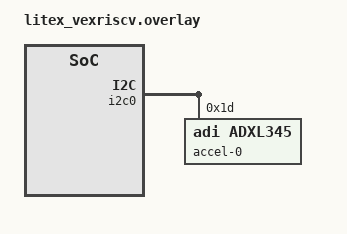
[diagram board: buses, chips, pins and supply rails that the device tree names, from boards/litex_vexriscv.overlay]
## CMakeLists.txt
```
cmake_minimum_required(VERSION 3.13.1)
include($ENV{ZEPHYR_BASE}/cmake/app/boilerplate.cmake NO_POLICY_SCOPE)
project(tf_lite_magic_wand)

set(TF_MICRO_DIR ${PROJECT_SOURCE_DIR}/../../../)
file(GLOB MICRO_SOURCES ${TF_MICRO_DIR}/*cc)
file(GLOB MICRO_HEADERS ${TF_MICRO_DIR}/*.h)
file(GLOB MICRO_TESTS_SOURCES ${TF_MICRO_DIR}/*test.cc)
file(GLOB MICRO_KERNELS_SOURCES ${TF_MICRO_DIR}/kernels/*cc)
file(GLOB MICRO_KERNELS_HEADERS ${TF_MICRO_DIR}/kernels/*.h)
file(GLOB MICRO_TESTS_KERNELS_SOURCES ${TF_MICRO_DIR}/kernels/*test.cc)
file(GLOB MICRO_MEMORY_SOURCES ${TF_MICRO_DIR}/memory_planner/*cc)
file(GLOB MICRO_MEMORY_HEADERS ${TF_MICRO_DIR}/memory_planner/*.h)
file(GLOB MICRO_TESTS_MEMORY_SOURCES ${TF_MICRO_DIR}/memory_planner/*test.cc)

# remove test sources from app sources
list(REMOVE_ITEM MICRO_SOURCES ${MICRO_TESTS_SOURCES})
list(REMOVE_ITEM MICRO_KERNELS_SOURCES ${MICRO_TESTS_KERNELS_SOURCES})
list(REMOVE_ITEM MICRO_MEMORY_SOURCES ${MICRO_TESTS_MEMORY_SOURCES})

# -fno-threadsafe-statics -- disables the mutex around initialization of local static variables
target_compile_options(app PRIVATE "-fno-threadsafe-statics")

target_sources(app PRIVATE
                src/assert.cc
                src/accelerometer_handler.cc
                src/accelerometer_handler.h
                ../output_handler.cc
                ../output_handler.h
                ../gesture_predictor.cc
                ../constants.h
                ../gesture_predictor.h
                ../main.cc
                ../main_functions.cc
                ../magic_wand_model_data.cc
                ../main_functions.h
                ../magic_wand_model_data.h
                ${MICRO_SOURCES}
                ${MICRO_KERNELS_SOURCES}
                ${MICRO_MEMORY_SOURCES}
                ${MICRO_HEADERS}
                ${MICRO_KERNEL_HEADERS}
                ${MICRO_MEMORY_HEADERS}
                ${TF_MICRO_DIR}/../c/common.c
                ${TF_MICRO_DIR}/../core/api/error_reporter.cc
                ${TF_MICRO_DIR}/../core/api/flatbuffer_conversions.cc
                ${TF_MICRO_DIR}/../core/api/op_resolver.cc
                ${TF_MICRO_DIR}/../core/api/tensor_utils.cc
                ${TF_MICRO_DIR}/../kernels/internal/quantization_util.cc
                ${TF_MICRO_DIR}/../kernels/kernel_util.cc
                )

target_include_directories(app PRIVATE
                ${TF_MICRO_DIR}/../../../
                ${TF_MICRO_DIR}/../micro/tools/make/downloads/gemmlowp
                ${TF_MICRO_DIR}/../micro/tools/make/downloads/flatbuffers/include
                $ENV{TOOLCHAIN_BASE}/include/c++/$ENV{TOOLCHAIN_VERSION}
                $ENV{TOOLCHAIN_BASE}/include
                $ENV{TOOLCHAIN_BASE}/include/c++/$ENV{TOOLCHAIN_VERSION}/riscv32-zephyr-elf/rv32i/ilp32
                )

add_definitions(-DNDEBUG -DTF_LITE_STATIC_MEMORY)
```

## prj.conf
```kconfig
CONFIG_CPLUSPLUS=y
CONFIG_NEWLIB_LIBC=y
CONFIG_SENSOR=y
CONFIG_ADXL345=y
CONFIG_PWM=n
CONFIG_PWM_LITEX=n
CONFIG_NETWORKING=n
```

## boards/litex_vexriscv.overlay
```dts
/* Copyright 2019 The TensorFlow Authors. All Rights Reserved.

Licensed under the Apache License, Version 2.0 (the "License");
you may not use this file except in compliance with the License.
You may obtain a copy of the License at

    http://www.apache.org/licenses/LICENSE-2.0

Unless required by applicable law or agreed to in writing, software
distributed under the License is distributed on an "AS IS" BASIS,
WITHOUT WARRANTIES OR CONDITIONS OF ANY KIND, either express or implied.
See the License for the specific language governing permissions and
limitations under the License.
==============================================================================*/

&uart0 {
	reg = <0x82002000 0x18>;
};

&timer0 {
	reg = <0x82002800 0x40>;
};

&dna0 {
	reg = <0x82003800 0x20>;
};

&gpio_in {
	reg = <0x82005800 0x4>;
};

&i2c0 {
	label = "I2C0";
	reg = <0x82005800 0x4 0x82005804 0x4>;

	adxl: adxl@1d {
		compatible = "adi,adxl345";
		label = "accel-0";
		reg = <0x1d>;
	};

};

&pwm0 {
	status = "disabled";
};

&eth0 {
	status = "disabled";
};

&prbs0 {
	status = "disabled";
};

&spi0 {
	status = "disabled";
};
```

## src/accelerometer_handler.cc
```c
/* Copyright 2019 The TensorFlow Authors. All Rights Reserved.

Licensed under the Apache License, Version 2.0 (the "License");
you may not use this file except in compliance with the License.
You may obtain a copy of the License at

    http://www.apache.org/licenses/LICENSE-2.0

Unless required by applicable law or agreed to in writing, software
distributed under the License is distributed on an "AS IS" BASIS,
WITHOUT WARRANTIES OR CONDITIONS OF ANY KIND, either express or implied.
See the License for the specific language governing permissions and
limitations under the License.
==============================================================================*/

#include "tensorflow/lite/micro/examples/magic_wand/accelerometer_handler.h"

#include <device.h>
#include <drivers/sensor.h>
#include <stdio.h>
#include <string.h>
#include <zephyr.h>

#define BUFLEN 300
int begin_index = 0;
struct device* sensor = NULL;
int current_index = 0;

float bufx[BUFLEN] = {0.0f};
float bufy[BUFLEN] = {0.0f};
float bufz[BUFLEN] = {0.0f};

bool initial = true;

TfLiteStatus SetupAccelerometer(tflite::ErrorReporter* error_reporter) {
  sensor = device_get_binding(DT_LABEL(DT_NODELABEL(adxl)));
  if (sensor == NULL) {
    TF_LITE_REPORT_ERROR(error_reporter,
                         "Failed to get accelerometer, label: %s\n",
                         DT_LABEL(DT_NODELABEL(adxl)));
  } else {
    TF_LITE_REPORT_ERROR(error_reporter, "Got accelerometer, label: %s\n",
                         DT_LABEL(DT_NODELABEL(adxl)));
  }
  return kTfLiteOk;
}

bool ReadAccelerometer(tflite::ErrorReporter* error_reporter, float* input,
                       int length) {
  int rc;
  struct sensor_value accel[3];
  int samples_count;

  rc = sensor_sample_fetch(sensor);
  if (rc < 0) {
    TF_LITE_REPORT_ERROR(error_reporter, "Fetch failed\n");
    return false;
  }
  // skip if there is no data
  if (!rc) {
    return false;
  }

  samples_count = rc;
  for (int i = 0; i < samples_count; i++) {
    rc = sensor_channel_get(sensor, SENSOR_CHAN_ACCEL_XYZ, accel);
    if (rc < 0) {
      TF_LITE_REPORT_ERROR(error_reporter, "ERROR: Update failed: %d\n", rc);
      return false;
    }
    bufx[begin_index] = (float)sensor_value_to_double(&accel[0]);
    bufy[begin_index] = (float)sensor_value_to_double(&accel[1]);
    bufz[begin_index] = (float)sensor_value_to_double(&accel[2]);
    begin_index++;
    if (begin_index >= BUFLEN) begin_index = 0;
  }

  if (initial && begin_index >= 100) {
    initial = false;
  }

  if (initial) {
    return false;
  }

  int sample = 0;
  for (int i = 0; i < (length - 3); i += 3) {
    int ring_index = begin_index + sample - length / 3;
    if (ring_index < 0) {
      ring_index += BUFLEN;
    }
    input[i] = bufx[ring_index];
    input[i + 1] = bufy[ring_index];
    input[i + 2] = bufz[ring_index];
    sample++;
  }
  return true;
}
```

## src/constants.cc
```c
/* Copyright 2019 The TensorFlow Authors. All Rights Reserved.

Licensed under the Apache License, Version 2.0 (the "License");
you may not use this file except in compliance with the License.
You may obtain a copy of the License at

    http://www.apache.org/licenses/LICENSE-2.0

Unless required by applicable law or agreed to in writing, software
distributed under the License is distributed on an "AS IS" BASIS,
WITHOUT WARRANTIES OR CONDITIONS OF ANY KIND, either express or implied.
See the License for the specific language governing permissions and
limitations under the License.
==============================================================================*/

#include "tensorflow/lite/micro/examples/magic_wand/constants.h"

// The number of expected consecutive inferences for each gesture type.
// These defaults were established with the SparkFun Edge board.
const int kConsecutiveInferenceThresholds[3] = {4, 1, 1};
```
